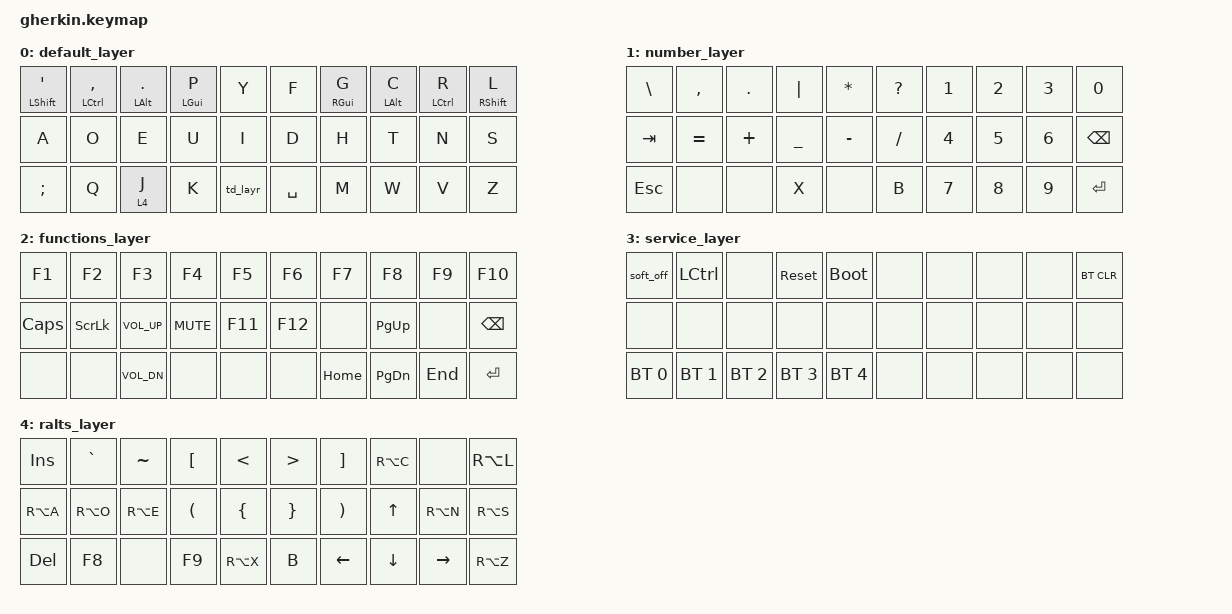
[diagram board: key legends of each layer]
/*
 * Copyright (c) 2025 pickme467
 *
 * SPDX-License-Identifier: MIT
 */

#include <behaviors.dtsi>
#include <dt-bindings/zmk/keys.h>
#include <dt-bindings/zmk/bt.h>

&soft_off {
        hold-time-ms = <200>;
};

/ {
        macros {
                lm: lm {
                   compatible = "zmk,behavior-macro-two-param";
                   wait-ms = <0>;
                   tap-ms = <0>;
                   #binding-cells = <2>;
                   bindings
                       = <&macro_param_1to1>
                       , <&macro_press &mo MACRO_PLACEHOLDER>
                       , <&macro_param_2to1>
                       , <&macro_press &kp MACRO_PLACEHOLDER>
                       , <&macro_pause_for_release>
                       , <&macro_param_2to1>
                       , <&macro_release &kp MACRO_PLACEHOLDER>
                       , <&macro_param_1to1>
                       , <&macro_release &mo MACRO_PLACEHOLDER>
                       ;
               };
        };

        behaviors {
                td_layr: tap_dance_0 {
                   compatible = "zmk,behavior-tap-dance";
                   #binding-cells = <0>;
                   tapping-term-ms = <217>;
                   bindings = <&mo 1>, <&mo 2>, <&mo 3>;
                };
        };

        keymap {
                compatible = "zmk,keymap";

                default_layer {
                        bindings = <
   &mt LSHFT SQT &mt LCTL COMMA &mt LALT DOT &mt LGUI P &kp Y    &kp F     &mt RGUI G &mt LALT C &mt LCTL R &mt RSHFT L
   &kp A         &kp O          &kp E        &kp U      &kp I    &kp D     &kp H      &kp T      &kp N      &kp S
   &kp SEMI      &kp Q          &lt 4 J      &kp K      &td_layr &kp SPACE &kp M      &kp W      &kp V      &kp Z
                        >;
                };
                number_layer {
                        bindings = <
   &kp BSLH &kp COMMA &kp DOT  &kp PIPE  &kp ASTRK &kp QMARK &kp N1    &kp N2 &kp N3 &kp N0
   &kp TAB  &kp EQUAL &kp PLUS &kp UNDER &kp MINUS &kp SLASH &kp N4    &kp N5 &kp N6 &kp BSPC
   &kp ESC  &none     &none    &kp X     &none     &kp B     &kp N7    &kp N8 &kp N9 &kp RET
                        >;
                };

                functions_layer {
                        bindings = <
   &kp F1   &kp F2   &kp F3       &kp F4     &kp F5        &kp F6   &kp F7    &kp F8    &kp F9  &kp F10
   &kp CAPS &kp SLCK &kp C_VOL_UP &kp C_MUTE &kp F11       &kp F12  &none     &kp PG_UP &none   &kp BSPC
   &none    &none    &kp C_VOL_DN &none      &none         &none    &kp HOME  &kp PG_DN &kp END &kp RET
                        >;
                };

                service_layer {
                        bindings = <
   &soft_off    &kp LCTL     &none        &sys_reset   &bootloader    &none &none &none  &none  &bt BT_CLR
   &none        &none        &none        &none        &none          &none &none &none  &none  &none
   &bt BT_SEL 0 &bt BT_SEL 1 &bt BT_SEL 2 &bt BT_SEL 3 &bt BT_SEL 4   &none &none &none  &none  &none
                        >;
                };

                ralts_layer {
                        bindings = <
   &kp INS   &kp GRAVE &kp TILDE &kp LBKT &kp LT      &kp GT   &kp RBKT  &kp RA(C) &none     &kp RA(L)
   &kp RA(A) &kp RA(O) &kp RA(E) &kp LPAR &kp LBRC    &kp RBRC &kp RPAR  &kp UP    &kp RA(N) &kp RA(S)
   &kp DEL   &kp F8    &none     &kp F9   &kp RA(X)   &kp B    &kp LEFT  &kp DOWN  &kp RIGHT &kp RA(Z)
                        >;
                };
        };
};
